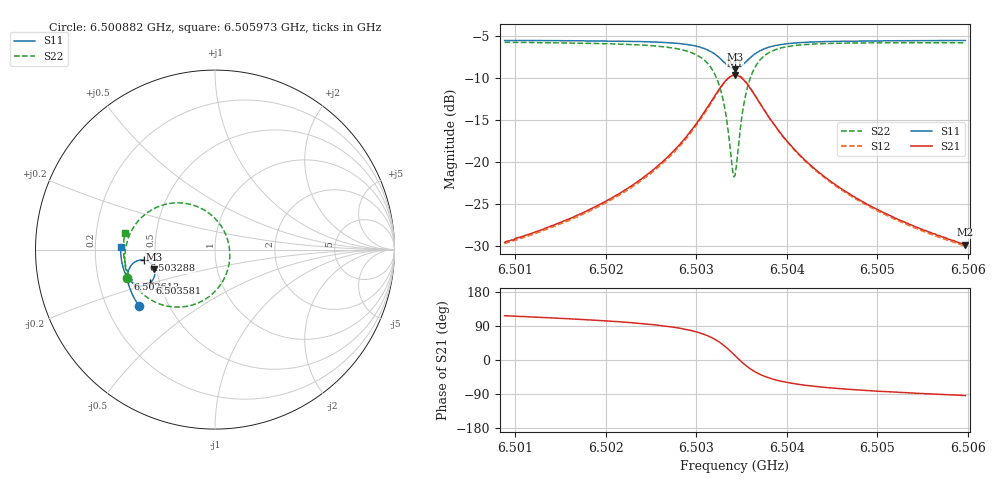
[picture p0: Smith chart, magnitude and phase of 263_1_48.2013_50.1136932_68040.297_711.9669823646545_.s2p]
#  HZ  S  RI  R  50.00
! Rohde & Schwarz Vector Network Analyzer
! Rohde-Schwarz,ZNB20-2Port,1311601062101988,3.16
! Created: UTC 3/20/2024, 11:47:50 AM
! freq[Hz]  re:S11  im:S11  re:S21  im:S21  re:S12  im:S12  re:S22  im:S22
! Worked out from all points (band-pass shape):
!   401 points, 6.500882 GHz to 6.505973 GHz, reference 50 ohm
!   highest |S21| = -9.70 dB at 6.503428 GHz (marker M1); lowest = -29.9 dB at 6.505973 GHz (marker M2)
!   |S21| within 3 dB of the highest: 6.503172 GHz to 6.503682 GHz (509.9 kHz wide, 0.00784 % of centre)
!   lowest |S11| = -9.0 dB at 6.503428 GHz (marker M3), VSWR 2.10, Z = 24.3 - j6.01 ohm
!   |S11| at or under -10 dB: nowhere
!   |S22| runs from -21.8 to -5.8 dB; largest |S21 - S12| = 0.011
!   S11 on the Smith chart (normalised r, x): 6.500882 GHz: 0.34, -0.30; 6.502613 GHz: 0.33, -0.15; 6.503288 GHz: 0.43, -0.06; 6.503581 GHz: 0.44, -0.20; 6.505973 GHz: 0.31, +0.01
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6.5008823e9  -0.4231 -0.3136  -0.0149 0.0295  -0.0133 0.0297  -0.488 -0.1603
6.5017351e9  -0.4602 -0.251  -0.0143 0.047  -0.0119 0.0467  -0.5022 -0.0707
6.5021933e9  -0.4766 -0.2109  -0.0117 0.0657  -0.0087 0.0646  -0.5 -0.00666
6.5025878e9  -0.4863 -0.1679  -0.00264 0.0956  0.000969 0.0932  -0.4808 0.0704
6.5026133e9  -0.4866 -0.1645  -0.00161 0.0983  0.00209 0.0961  -0.4784 0.0767
6.5028551e9  -0.4852 -0.1289  0.0179 0.1323  0.0218 0.1285  -0.4374 0.1475
6.5030333e9  -0.4723 -0.0953  0.0552 0.1692  0.0583 0.1638  -0.3644 0.2144
6.5031861e9  -0.4389 -0.0649  0.1293 0.1997  0.1306 0.1931  -0.2286 0.2598
6.5032879e9  -0.3961 -0.0582  0.2148 0.1902  0.2151 0.1849  -0.0797 0.231
6.5033388e9  -0.3705 -0.0672  0.2631 0.1619  0.264 0.1573  0.000618 0.1729
6.5034024e9  -0.3441 -0.0937  0.3104 0.0983  0.3129 0.0931  0.0718 0.0503
6.5034279e9  -0.3377 -0.1082  0.3205 0.0661  0.3238 0.0602  0.0823 -0.00959
6.5034533e9  -0.3348 -0.1238  0.324 0.0326  0.3274 0.0256  0.08 -0.0707
6.503517e9  -0.342 -0.1607  0.3056 -0.0448  0.3077 -0.0547  0.0242 -0.2048
6.5035806e9  -0.3631 -0.1864  0.2629 -0.0985  0.2617 -0.1096  -0.0722 -0.2868
6.5036824e9  -0.4025 -0.2014  0.1888 -0.1342  0.1833 -0.1435  -0.2213 -0.3201
6.5038479e9  -0.4483 -0.1917  0.1076 -0.1309  0.1006 -0.1359  -0.3672 -0.2735
6.5040261e9  -0.4755 -0.1702  0.0635 -0.1111  0.0574 -0.1133  -0.4387 -0.2089
6.5042807e9  -0.4962 -0.1403  0.0336 -0.087  0.029 -0.0875  -0.4817 -0.1372
6.5046752e9  -0.5121 -0.0996  0.0143 -0.0634  0.0112 -0.063  -0.5045 -0.0603
6.5051334e9  -0.5212 -0.0574  0.00498 -0.0476  0.00272 -0.0468  -0.51 0.00326
6.5059735e9  -0.5259 0.0135  -0.00215 -0.0319  -0.00339 -0.0312  -0.502 0.0914
